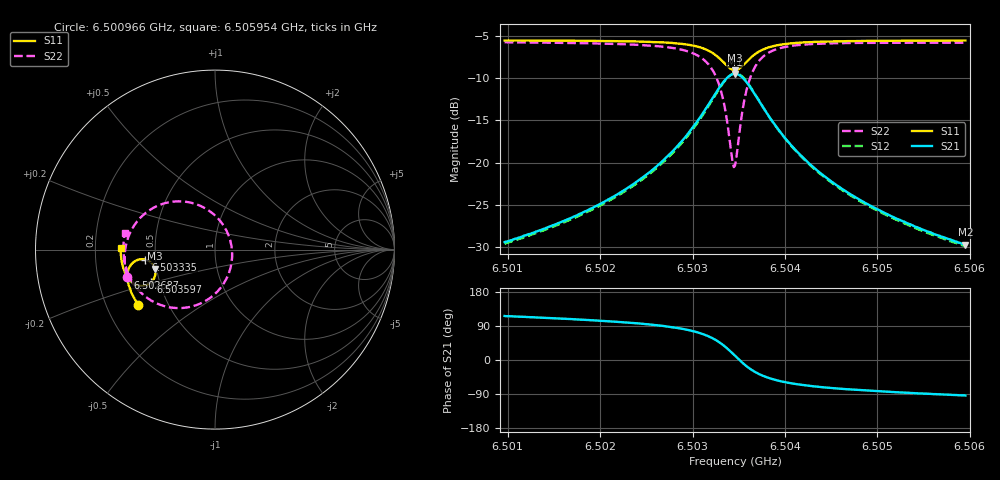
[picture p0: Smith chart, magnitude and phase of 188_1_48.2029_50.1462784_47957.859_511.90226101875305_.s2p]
#  HZ  S  RI  R  50.00
! Rohde & Schwarz Vector Network Analyzer
! Rohde-Schwarz,ZNB20-2Port,1311601062101988,3.16
! Created: UTC 3/20/2024, 11:44:30 AM
! freq[Hz]  re:S11  im:S11  re:S21  im:S21  re:S12  im:S12  re:S22  im:S22
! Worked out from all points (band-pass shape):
!   401 points, 6.500966 GHz to 6.505954 GHz, reference 50 ohm
!   highest |S21| = -9.52 dB at 6.50346 GHz (marker M1); lowest = -29.7 dB at 6.505954 GHz (marker M2)
!   |S21| within 3 dB of the highest: 6.503209 GHz to 6.503708 GHz (499 kHz wide, 0.00767 % of centre)
!   lowest |S11| = -9.1 dB at 6.50346 GHz (marker M3), VSWR 2.08, Z = 24.5 - j5.93 ohm
!   |S11| at or under -10 dB: nowhere
!   |S22| runs from -20.5 to -5.8 dB; largest |S21 - S12| = 0.012
!   S11 on the Smith chart (normalised r, x): 6.500966 GHz: 0.34, -0.29; 6.502687 GHz: 0.33, -0.14; 6.503335 GHz: 0.44, -0.06; 6.503597 GHz: 0.45, -0.19; 6.505954 GHz: 0.31, +0.01
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6.5009662e9  -0.4269 -0.3079  -0.0149 0.0304  -0.0131 0.0304  -0.4904 -0.1525
6.5018016e9  -0.4628 -0.246  -0.0142 0.0482  -0.0118 0.0478  -0.5032 -0.0632
6.5022629e9  -0.479 -0.205  -0.0111 0.068  -0.00814 0.0667  -0.4998 0.00269
6.502637e9  -0.4876 -0.1634  -0.00193 0.0977  0.00172 0.0953  -0.4797 0.0783
6.5026868e9  -0.488 -0.1568  0.000529 0.1034  0.00426 0.1008  -0.4743 0.0911
6.5029487e9  -0.4836 -0.1155  0.0271 0.145  0.0308 0.1403  -0.4192 0.1743
6.5031357e9  -0.4618 -0.0772  0.0825 0.1873  0.0847 0.181  -0.3134 0.247
6.5032479e9  -0.4284 -0.0567  0.1528 0.2046  0.1536 0.1983  -0.1864 0.2686
6.5033352e9  -0.3873 -0.0555  0.2337 0.1873  0.2339 0.1824  -0.0472 0.2258
6.5034225e9  -0.3451 -0.0844  0.3107 0.1129  0.3131 0.1086  0.0755 0.0795
6.5034474e9  -0.3373 -0.0985  0.3237 0.0815  0.3269 0.0763  0.0918 0.0202
6.5034599e9  -0.3347 -0.1062  0.3278 0.0648  0.3312 0.0589  0.0953 -0.0109
6.5034848e9  -0.3318 -0.1221  0.331 0.0305  0.3346 0.0236  0.0924 -0.0733
6.5035471e9  -0.3395 -0.1599  0.3114 -0.0481  0.3137 -0.0582  0.0339 -0.21
6.503597e9  -0.3564 -0.1819  0.2771 -0.0936  0.2767 -0.1051  -0.0444 -0.2807
6.5037092e9  -0.4013 -0.2012  0.1915 -0.138  0.1861 -0.1476  -0.2176 -0.3255
6.5038713e9  -0.4479 -0.1915  0.1092 -0.1342  0.1021 -0.1392  -0.3659 -0.2772
6.5040459e9  -0.4753 -0.17  0.0642 -0.1135  0.058 -0.1158  -0.4385 -0.2116
6.5042952e9  -0.496 -0.1401  0.0341 -0.089  0.0292 -0.0894  -0.4817 -0.1387
6.5046568e9  -0.5112 -0.1022  0.0154 -0.0659  0.0121 -0.0655  -0.5038 -0.0656
6.5051306e9  -0.521 -0.0581  0.00504 -0.0485  0.00283 -0.0479  -0.5105 0.00221
6.5059535e9  -0.526 0.0116  -0.00209 -0.0326  -0.00345 -0.0319  -0.5026 0.0899
